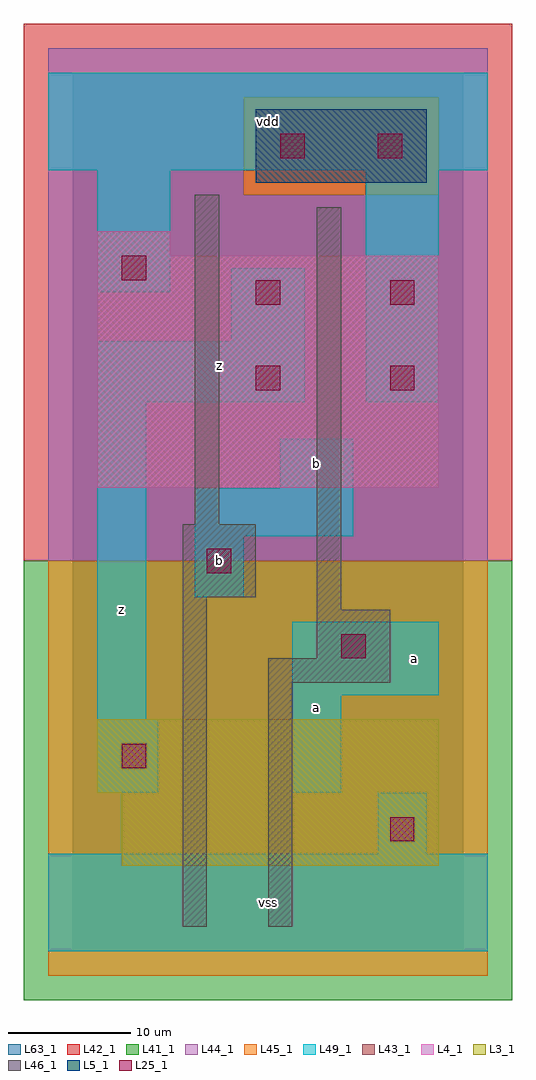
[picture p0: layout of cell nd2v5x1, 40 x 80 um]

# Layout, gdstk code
import gdstk
lib = gdstk.Library(unit=1e-6, precision=1e-09)
def R(c, l, rs):  # rectangles x0, y0, x1, y1
    for r in rs: c.add(gdstk.rectangle(r[:2], r[2:], *l))
L3_1 = (3, 1)
L4_1 = (4, 1)
L5_1 = (5, 1)
L25_1 = (25, 1)
L41_1 = (41, 1)
L42_1 = (42, 1)
L43_1 = (43, 1)
L44_1 = (44, 1)
L45_1 = (45, 1)
L46_1 = (46, 1)
L49_1 = (49, 1)
L63_1 = (63, 1)

nd2v5x1 = lib.new_cell('nd2v5x1')
R(nd2v5x1, L3_1, [(4,7,30,13), (2,13,30,19)])
R(nd2v5x1, L4_1, [(2,38,30,57), (2,57,8,59)])
R(nd2v5x1, L5_1, [(15,63,29,69)])
R(nd2v5x1, L25_1, [(26,9,28,11), (4,15,6,17), (22,24,24,26), (11,31,13,33), (15,46,17,48), (26,46,28,48), (15,53,17,55), (26,53,28,55), (4,55,6,57), (17,65,19,67), (25,65,27,67)])
R(nd2v5x1, L41_1, [(-4,-4,36,32)])
R(nd2v5x1, L42_1, [(-4,32,36,76)])
R(nd2v5x1, L43_1, [(4,7,30,13), (2,13,30,19), (2,38,30,57), (2,57,8,59), (15,63,29,69)])
R(nd2v5x1, L44_1, [(-2,32,34,62), (-2,62,14,70), (30,62,34,70), (-2,70,34,74)])
R(nd2v5x1, L45_1, [(-2,-2,34,32), (14,62,30,70)])
R(nd2v5x1, L46_1, [(9,2,11,29), (16,2,18,22), (16,22,26,24), (20,24,26,28), (20,28,22,61), (9,29,15,35), (10,35,12,62)])
R(nd2v5x1, L49_1, [(-2,0,34,8), (25,8,29,13), (2,13,7,19), (18,13,22,21), (2,19,6,45), (18,21,30,27), (10,29,14,34), (10,34,23,38), (17,38,23,42), (2,45,19,50), (24,45,30,64), (13,50,19,56), (2,54,8,64), (-2,64,34,72)])
R(nd2v5x1, L63_1, [(0,0,32,72)])
nd2v5x1.add(gdstk.Label('z', (4,28), layer=49, texttype=1))
nd2v5x1.add(gdstk.Label('b', (12,32), layer=49, texttype=1))
nd2v5x1.add(gdstk.Label('z', (12,48), layer=49, texttype=1))
nd2v5x1.add(gdstk.Label('vss', (16,4), layer=49, texttype=1))
nd2v5x1.add(gdstk.Label('a', (20,20), layer=49, texttype=1))
nd2v5x1.add(gdstk.Label('b', (20,40), layer=49, texttype=1))
nd2v5x1.add(gdstk.Label('vdd', (16,68), layer=49, texttype=1))
nd2v5x1.add(gdstk.Label('a', (28,24), layer=49, texttype=1))

lib.write_gds('nd2v5x1.gds')
